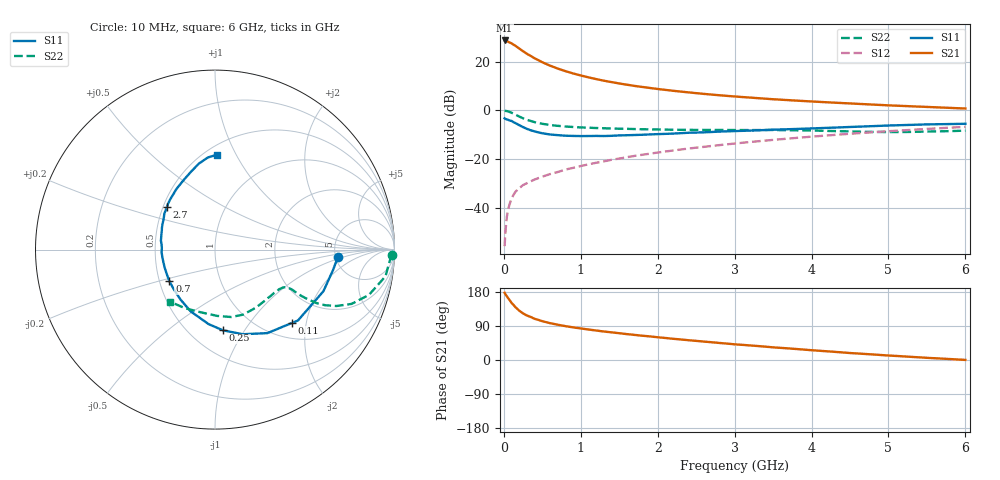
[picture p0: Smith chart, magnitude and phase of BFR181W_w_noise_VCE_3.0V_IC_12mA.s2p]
! Infineon Technologies  Discrete & RF Semiconductors
! BFR181W
! VCE =  3.0 V,  IC =  12 mA
! Common Emitter S-Parameters:  Jan 2017
# GHz  S  MA  R  50
!  f  S11  S21  S12  S22
! GHz  MAG  ANG  MAG  ANG  MAG  ANG  MAG  ANG
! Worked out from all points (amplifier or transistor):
!   77 points, 10 MHz to 6 GHz, reference 50 ohm
!   highest |S21| = 28.8 dB at 10 MHz (marker M1)
!   |S21| within 3 dB of that: start of sweep to 185.4 MHz
!   unconditionally stable (mu >= 1): 848.2 MHz to 2.778 GHz
!   at 130 MHz: K = 0.32, MSG = 30.8 dB, |S12| = -34.6 dB
!   at 2.2 GHz: K = 1.05, MAG = 10.9 dB, |S12| = -16.5 dB
!   at 6 GHz: K = 0.83, MSG = 3.8 dB, |S12| = -6.8 dB
!   lowest NFmin = 1.34 dB at 450 MHz
!   S11 on the Smith chart (normalised r, x): 10 MHz: 5.23, -0.83; 110 MHz: 1.31, -1.65; 250 MHz: 0.71, -0.81; 700 MHz: 0.56, -0.22; 2.7 GHz: 0.52, +0.29; 6 GHz: 0.57, +0.85
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0.01  0.6856 -3.5  27.52 177.5  0.0016 90.7  0.987 -1.7
0.02  0.6678 -9.7  27.11 173.6  0.003 82.6  0.9769 -3.4
0.05  0.647 -21.0  26.32 164.8  0.0082 80.3  0.9616 -8.9
0.1  0.608 -40.5  24.03 150.8  0.0152 73.7  0.894 -16.4
0.11  0.5921 -43.7  23.43 148.8  0.0163 72.1  0.8783 -17.4
0.15  0.5493 -57.9  21.39 139.5  0.021 67.4  0.8185 -21.7
0.2  0.4963 -71.8  18.75 130.2  0.025 64.3  0.7463 -24.9
0.25  0.4522 -84.3  16.53 123.0  0.029 62.7  0.6874 -26.8
0.3  0.4164 -95.0  14.62 117.3  0.0317 60.5  0.6383 -27.8
0.4  0.3697 -111.6  11.81 108.7  0.0377 61.2  0.572 -28.2
0.5  0.3378 -124.9  9.784 102.4  0.0431 62.5  0.5288 -28.1
0.6  0.3188 -136.0  8.35 97.3  0.0488 63.3  0.5002 -27.7
0.7  0.3093 -145.3  7.261 93.1  0.0538 65.4  0.4806 -27.4
0.9  0.2978 -160.3  5.759 86.1  0.0655 66.5  0.4548 -27.7
1.1  0.2964 -172.0  4.786 80.5  0.0775 68.2  0.4401 -28.5
1.5  0.3053 170.8  3.582 70.7  0.1019 69.2  0.4191 -32.0
2.1  0.3283 151.9  2.642 58.1  0.1424 68.7  0.4017 -40.9
2.7  0.359 138.1  2.116 46.9  0.185 66.4  0.3951 -52.1
3.1  0.379 129.9  1.883 40.0  0.2154 64.2  0.3934 -59.5
4.1  0.4306 112.7  1.496 24.4  0.2959 57.3  0.3817 -78.7
5.1  0.493 99.2  1.25 10.7  0.3807 48.4  0.3579 -105.3
6  0.5299 88.5  1.092 0.2  0.4578 39.4  0.3831 -130.6
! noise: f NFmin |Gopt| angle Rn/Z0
0.45  1.34  0.1  16  0.21
0.9  1.38  0.1  32  0.21
1.9  1.82  0.07  -151  0.21
2.4  2.01  0.08  -113  0.26
